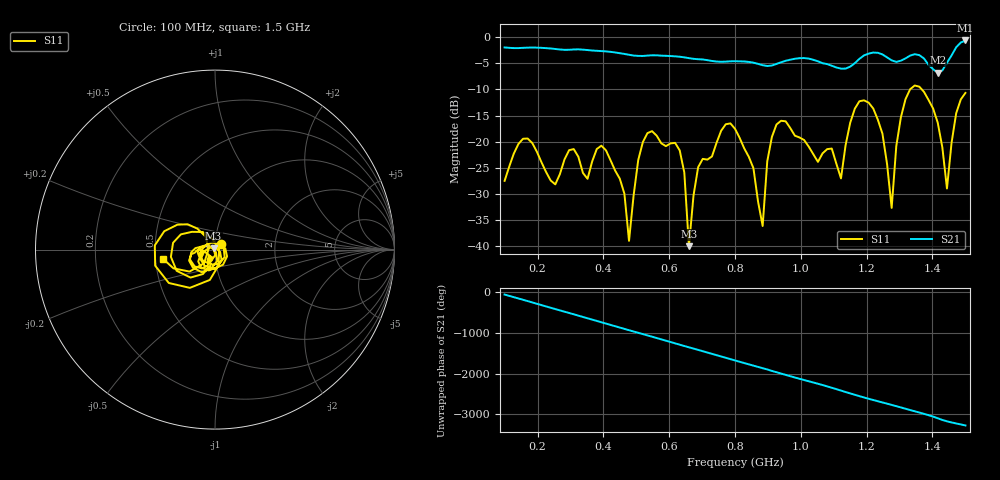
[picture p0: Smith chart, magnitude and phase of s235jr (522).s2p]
! NanoVNA-App
! Date: 2025-09-25 15:08:13
! Start: 100MHz Stop: 1,5GHz Points: 101
! S-Parameter data: F S11 S21 S12 S22
# Hz S RI R 50
!  Frequency  S11_Real  S11_Imag  S21_Real  S21_Imag  S12_Real  S12_Imag  S22_Real  S22_Imag
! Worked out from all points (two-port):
!   101 points, 100 MHz to 1.5 GHz, reference 50 ohm
!   highest |S21| = -0.63 dB at 1.5 GHz (marker M1); lowest = -6.8 dB at 1.416 GHz (marker M2)
!   |S21| within 3 dB of the highest: start of sweep to 608.6 MHz; 1.189 GHz to 1.256 GHz (67.17 MHz wide, 5.49 % of centre) (the widest 2 of 4)
!   lowest |S11| = -40.0 dB at 660 MHz (marker M3), VSWR 1.02, Z = 49.2 + j0.64 ohm
!   |S11| at or under -10 dB: start of sweep to 1.332 GHz; 1.368 GHz to end of sweep
!   S12 and S22 are empty: the file has one direction only
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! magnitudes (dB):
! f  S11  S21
! 100 MHz  -27.5  -2.0
! 156 MHz  -19.4  -2.0
! 338 MHz  -26.0  -2.4
! 408 MHz  -21.6  -2.7
! 478 MHz  -38.9  -3.4
! 520 MHz  -20.1  -3.6
! 576 MHz  -20.3  -3.5
! 632 MHz  -21.6  -3.7
! 660 MHz  -40.0  -4.0
! 688 MHz  -24.9  -4.2
! 800 MHz  -17.5  -4.6
! 884 MHz  -36.1  -5.4
! 926 MHz  -16.7  -5.1
! 1.038 GHz  -22.4  -4.3
! 1.122 GHz  -27.0  -6.0
! 1.206 GHz  -12.5  -3.1
! 1.248 GHz  -18.5  -3.3
! 1.276 GHz  -32.6  -4.4
! 1.332 GHz  -10.0  -3.5
! 1.416 GHz  -16.4  -6.8
! 1.444 GHz  -28.9  -4.9
! 1.5 GHz  -10.7  -0.6
